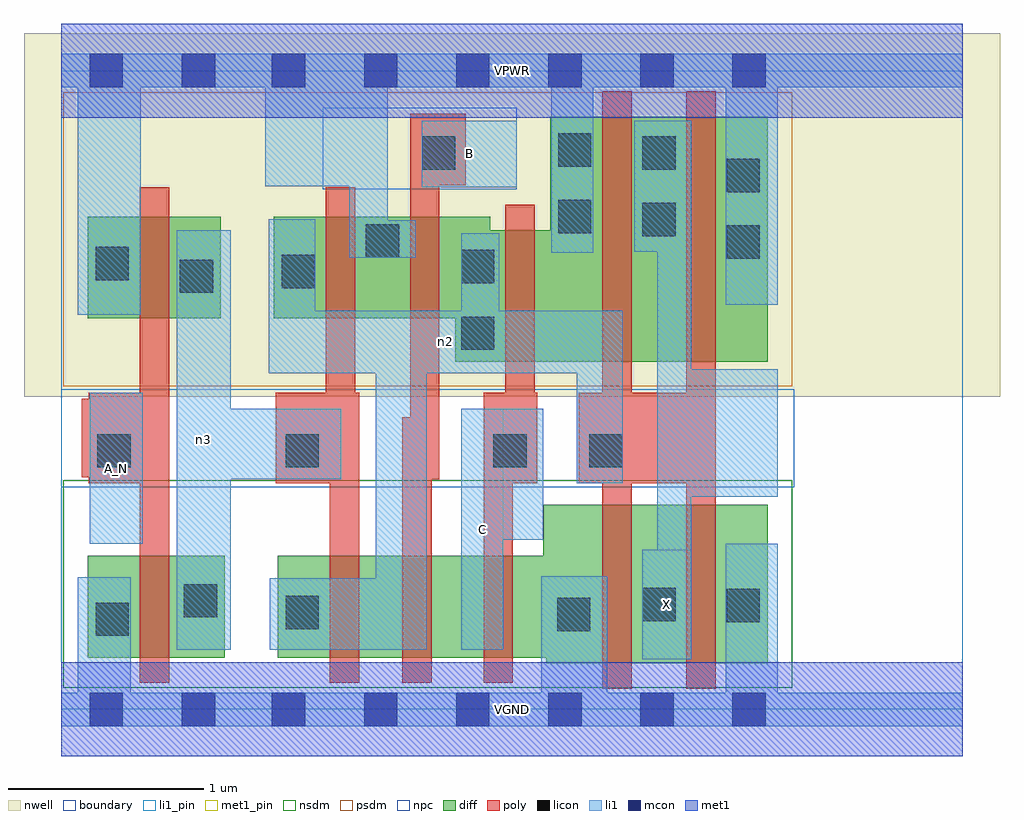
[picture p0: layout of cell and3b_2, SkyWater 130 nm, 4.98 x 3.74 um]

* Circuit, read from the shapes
.subckt and3b_2 A_N B C VGND VPWR X n2 n3
XM1 n3 A_N VGND VSUBS sky130_fd_pr__nfet_01v8 w=0.52 l=0.15
XM2 n1 n3 n2 VSUBS sky130_fd_pr__nfet_01v8 w=0.52 l=0.15
XM3 n4 B n1 VSUBS sky130_fd_pr__nfet_01v8 w=0.52 l=0.15
XM4 VGND C n4 VSUBS sky130_fd_pr__nfet_01v8 w=0.52 l=0.15
XM5 X n2 VGND VSUBS sky130_fd_pr__nfet_01v8 w=0.81 l=0.15 m=2
XM6 n3 A_N VPWR n5 sky130_fd_pr__pfet_01v8 w=0.52 l=0.15
XM7 VPWR n3 n2 n5 sky130_fd_pr__pfet_01v8 w=0.52 l=0.15
XM8 n2 B VPWR n5 sky130_fd_pr__pfet_01v8 w=0.52 l=0.15
XM9 VPWR C n2 n5 sky130_fd_pr__pfet_01v8 w=0.67 l=0.15
XM10 X n2 VPWR n5 sky130_fd_pr__pfet_01v8 w=1.25 l=0.15 m=2
.ends

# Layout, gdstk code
import gdstk
lib = gdstk.Library(unit=1e-6, precision=1e-09)
def R(c, l, rs):  # rectangles x0, y0, x1, y1
    for r in rs: c.add(gdstk.rectangle(r[:2], r[2:], *l))
def A(c, l, x, y, w, h, nx, ny, dx, dy):  # array of equal rectangles
    R(c, l, [(x+i*dx, y+j*dy, x+i*dx+w, y+j*dy+h) for i in range(nx) for j in range(ny)])
nwell = (64, 20)
diff = (65, 20)
poly = (66, 20)
licon = (66, 44)
li1_pin = (67, 16)
li1 = (67, 20)
mcon = (67, 44)
met1_pin = (68, 16)
met1 = (68, 20)
nsdm = (93, 44)
psdm = (94, 20)
npc = (95, 20)
boundary = (235, 4)

and3b_2 = lib.new_cell('and3b_2')
R(and3b_2, nwell, [(-0.19,1.595,4.79,3.45), (0,1.595,4.6,3.45)])
R(and3b_2, diff, [(2.475,0.235,3.605,1.045), (0.135,0.265,0.835,0.785), (1.105,0.265,3.605,0.785), (2.46,0.265,3.605,1.045), (2.01,1.775,3.605,2.445), (2.495,1.775,3.605,3.025), (0.135,1.995,0.815,2.515), (1.085,1.995,2.19,2.515)])
R(and3b_2, poly, [(2.76,0.105,2.91,3.155), (3.19,0.105,3.34,3.155), (0.4,0.135,0.55,2.665), (1.37,0.135,1.52,1.615), (1.74,0.135,1.89,1.49), (2.155,0.135,2.305,1.615), (0.14,1.155,0.55,1.615), (1.095,1.155,1.52,1.615), (1.35,1.155,1.5,2.665), (2.155,1.155,2.43,1.615), (2.265,1.155,2.415,2.575), (2.64,1.155,3.34,1.615), (1.78,1.175,1.93,3.04), (0.105,1.185,0.55,1.585), (1.78,2.675,2.065,3.04)])
R(and3b_2, licon, [(0.175,0.375,0.345,0.545), (2.53,0.4,2.7,0.57), (1.145,0.41,1.315,0.58), (3.395,0.445,3.565,0.615), (2.965,0.45,3.135,0.62), (0.625,0.47,0.795,0.64), (0.185,1.235,0.355,1.405), (1.145,1.235,1.315,1.405), (2.205,1.235,2.375,1.405), (2.695,1.235,2.865,1.405), (2.04,1.835,2.21,2.005), (0.605,2.125,0.775,2.295), (1.125,2.15,1.295,2.32), (2.04,2.175,2.21,2.345), (0.175,2.19,0.345,2.36), (3.395,2.3,3.565,2.47), (1.555,2.305,1.725,2.475), (2.965,2.415,3.135,2.585), (2.535,2.43,2.705,2.6), (3.395,2.64,3.565,2.81), (1.84,2.755,2.01,2.925), (2.965,2.755,3.135,2.925), (2.535,2.77,2.705,2.94)])
R(and3b_2, li1_pin, [(2.965,0.255,3.215,0.815), (2.04,0.305,2.255,1.535), (0.145,0.845,0.415,1.615), (1.84,2.665,2.325,3.005)])
R(and3b_2, li1, [(0,-0.085,4.6,0.085), (0.085,-0.085,0.355,0.675), (2.45,-0.085,2.785,0.68), (3.39,-0.085,3.655,0.845), (2.965,0.255,3.215,0.815), (3.04,0.255,3.215,3.005), (0.59,0.305,0.865,2.445), (1.065,0.305,1.865,0.67), (1.605,0.305,1.865,2.035), (2.04,0.305,2.255,1.535), (0.145,0.845,0.415,1.615), (2.04,0.865,2.46,1.535), (3.04,1.085,3.655,1.735), (2.63,1.155,2.865,2.035), (0.59,1.175,1.43,1.535), (1.06,1.715,2.865,2.035), (1.06,1.715,1.295,2.5), (2.04,1.715,2.235,2.43), (0.085,2.015,0.405,3.345), (3.39,2.065,3.655,3.345), (1.47,2.305,1.665,3.345), (1.47,2.305,1.81,2.495), (2.5,2.33,2.715,3.345), (2.925,2.335,3.215,3.005), (1.84,2.665,2.325,3.005), (1.04,2.67,1.665,3.345), (0,3.175,4.6,3.345)])
A(and3b_2, mcon, 1.075, -0.085, 0.17, 0.17, 6, 2, 0.47, 3.26)
R(and3b_2, mcon, [(0.145,-0.085,0.315,0.085), (0.615,-0.085,0.785,0.085), (0.145,3.175,0.315,3.345), (0.615,3.175,0.785,3.345)])
R(and3b_2, met1_pin, [(0,-0.24,4.6,0.24), (0,3.02,4.6,3.5)])
R(and3b_2, met1, [(0,-0.24,4.6,0.24), (0,3.02,4.6,3.5)])
R(and3b_2, nsdm, [(0.01,0.11,3.73,1.17)])
R(and3b_2, psdm, [(0.01,1.65,3.73,3.15)])
R(and3b_2, npc, [(0,1.135,3.74,1.635), (1.335,2.655,2.325,3.07)])
R(and3b_2, boundary, [(0,0,4.6,3.26)])
and3b_2.add(gdstk.Label('A_N', (0.28,1.23), layer=67, texttype=5))
and3b_2.add(gdstk.Label('B', (2.082,2.835), layer=67, texttype=5))
and3b_2.add(gdstk.Label('C', (2.147,0.92), layer=67, texttype=5))
and3b_2.add(gdstk.Label('X', (3.09,0.535), layer=67, texttype=5))
and3b_2.add(gdstk.Label('n3', (0.727,1.375), layer=67, texttype=5))
and3b_2.add(gdstk.Label('n2', (1.962,1.875), layer=67, texttype=5))
and3b_2.add(gdstk.Label('VPWR', (2.3,3.26), layer=68, texttype=5))
and3b_2.add(gdstk.Label('VGND', (2.3,0), layer=68, texttype=5))
and3b_2.add(gdstk.Label('A_N', (0.28,1.23), layer=67, texttype=16))
and3b_2.add(gdstk.Label('B', (2.082,2.835), layer=67, texttype=16))
and3b_2.add(gdstk.Label('C', (2.147,0.92), layer=67, texttype=16))
and3b_2.add(gdstk.Label('X', (3.09,0.535), layer=67, texttype=16))
and3b_2.add(gdstk.Label('VPWR', (2.3,3.26), layer=68, texttype=16))
and3b_2.add(gdstk.Label('VGND', (2.3,0), layer=68, texttype=16))

lib.write_gds('and3b_2.gds')
